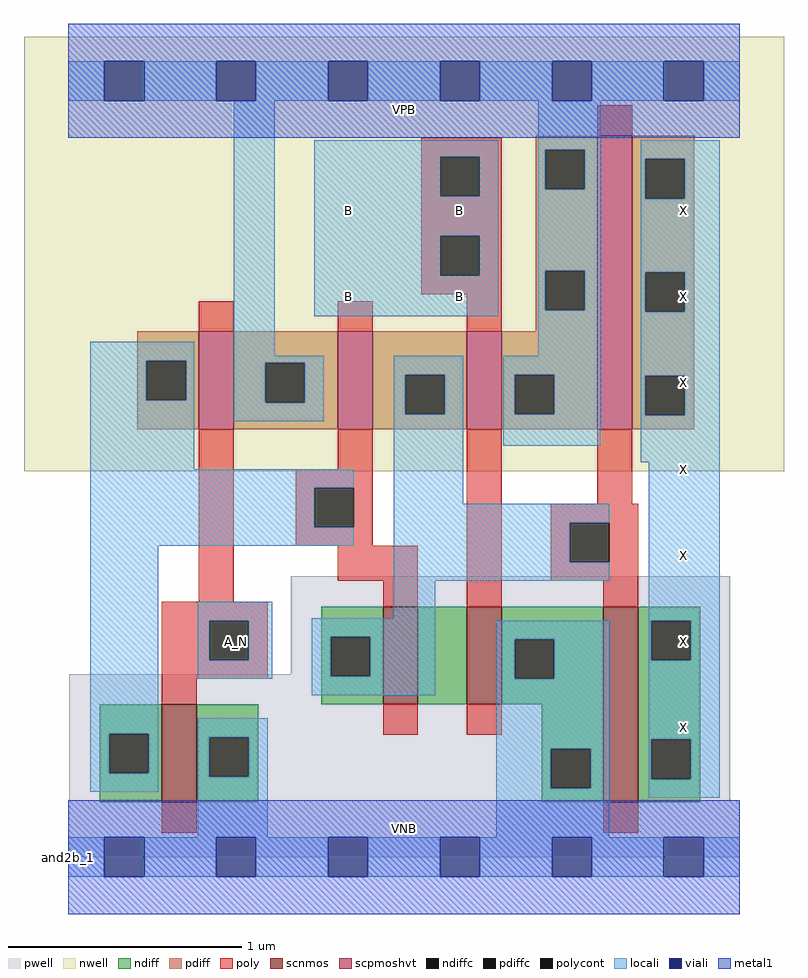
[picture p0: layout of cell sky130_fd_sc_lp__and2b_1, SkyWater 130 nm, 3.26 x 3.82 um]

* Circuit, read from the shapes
.subckt sky130_fd_sc_lp__and2b_1 A_N B VGND VNB VPB VPWR X
XM1 VGND A_N n1 VNB sky130_fd_pr__nfet_01v8 w=0.42 l=0.15
XM2 n2 n1 n3 VNB sky130_fd_pr__nfet_01v8 w=0.42 l=0.15
XM3 VGND B n2 VNB sky130_fd_pr__nfet_01v8 w=0.42 l=0.15
XM4 X n3 VGND VNB sky130_fd_pr__nfet_01v8 w=0.84 l=0.15
XM5 VPWR A_N n1 VPB sky130_fd_pr__pfet_01v8_hvt w=0.42 l=0.15
XM6 n3 n1 VPWR VPB sky130_fd_pr__pfet_01v8_hvt w=0.42 l=0.15
XM7 VPWR B n3 VPB sky130_fd_pr__pfet_01v8_hvt w=0.42 l=0.15
XM8 X n3 VPWR VPB sky130_fd_pr__pfet_01v8_hvt w=1.26 l=0.15
.ends

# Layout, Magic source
magic
tech sky130A
magscale 1 2
<< nwell >>
rect -38 331 614 704
<< pwell >>
rect 191 157 568 241
rect 1 49 568 157
rect 0 0 576 49
<< scnmos >>
rect 270 131 300 215
rect 342 131 372 215
rect 80 47 110 131
rect 459 47 489 215
<< scpmoshvt >>
rect 112 367 142 451
rect 231 367 261 451
rect 342 367 372 451
rect 454 367 484 619
<< ndiff >>
rect 217 189 270 215
rect 217 155 225 189
rect 259 155 270 189
rect 217 131 270 155
rect 300 131 342 215
rect 372 187 459 215
rect 372 153 383 187
rect 417 153 459 187
rect 372 131 459 153
rect 27 106 80 131
rect 27 72 35 106
rect 69 72 80 106
rect 27 47 80 72
rect 110 103 163 131
rect 110 69 121 103
rect 155 69 163 103
rect 110 47 163 69
rect 406 93 459 131
rect 406 59 414 93
rect 448 59 459 93
rect 406 47 459 59
rect 489 203 542 215
rect 489 169 500 203
rect 534 169 542 203
rect 489 101 542 169
rect 489 67 500 101
rect 534 67 542 101
rect 489 47 542 67
<< pdiff >>
rect 401 607 454 619
rect 401 573 409 607
rect 443 573 454 607
rect 401 503 454 573
rect 401 469 409 503
rect 443 469 454 503
rect 401 451 454 469
rect 59 426 112 451
rect 59 392 67 426
rect 101 392 112 426
rect 59 367 112 392
rect 142 424 231 451
rect 142 390 169 424
rect 203 390 231 424
rect 142 367 231 390
rect 261 414 342 451
rect 261 380 289 414
rect 323 380 342 414
rect 261 367 342 380
rect 372 414 454 451
rect 372 380 383 414
rect 417 380 454 414
rect 372 367 454 380
rect 484 599 537 619
rect 484 565 495 599
rect 529 565 537 599
rect 484 502 537 565
rect 484 468 495 502
rect 529 468 537 502
rect 484 413 537 468
rect 484 379 495 413
rect 529 379 537 413
rect 484 367 537 379
<< ndiffc >>
rect 225 155 259 189
rect 383 153 417 187
rect 35 72 69 106
rect 121 69 155 103
rect 414 59 448 93
rect 500 169 534 203
rect 500 67 534 101
<< pdiffc >>
rect 409 573 443 607
rect 409 469 443 503
rect 67 392 101 426
rect 169 390 203 424
rect 289 380 323 414
rect 383 380 417 414
rect 495 565 529 599
rect 495 468 529 502
rect 495 379 529 413
<< poly >>
rect 454 619 484 645
rect 303 601 372 617
rect 303 567 319 601
rect 353 567 372 601
rect 303 533 372 567
rect 303 499 319 533
rect 353 499 372 533
rect 303 483 372 499
rect 112 451 142 477
rect 231 451 261 477
rect 342 451 372 483
rect 112 219 142 367
rect 231 333 261 367
rect 195 317 261 333
rect 195 283 211 317
rect 245 283 261 317
rect 195 267 261 283
rect 231 237 300 267
rect 80 203 171 219
rect 270 215 300 237
rect 342 215 372 367
rect 454 303 484 367
rect 414 287 489 303
rect 414 253 430 287
rect 464 253 489 287
rect 414 237 489 253
rect 459 215 489 237
rect 80 169 121 203
rect 155 169 171 203
rect 80 153 171 169
rect 80 131 110 153
rect 270 105 300 131
rect 342 105 372 131
rect 80 21 110 47
rect 459 21 489 47
<< polycont >>
rect 319 567 353 601
rect 319 499 353 533
rect 211 283 245 317
rect 430 253 464 287
rect 121 169 155 203
<< locali >>
rect 0 649 31 683
rect 65 649 127 683
rect 161 649 223 683
rect 257 649 319 683
rect 353 649 415 683
rect 449 649 511 683
rect 545 649 576 683
rect 19 426 108 442
rect 19 392 67 426
rect 101 392 108 426
rect 19 333 108 392
rect 142 430 177 649
rect 211 601 369 615
rect 211 567 319 601
rect 353 567 369 601
rect 211 533 369 567
rect 211 499 319 533
rect 353 499 369 533
rect 211 464 369 499
rect 403 607 457 649
rect 403 573 409 607
rect 443 573 457 607
rect 403 503 457 573
rect 403 469 409 503
rect 443 469 457 503
rect 403 430 457 469
rect 142 424 219 430
rect 142 390 169 424
rect 203 390 219 424
rect 142 374 219 390
rect 279 414 339 430
rect 279 380 289 414
rect 323 380 339 414
rect 19 317 245 333
rect 19 283 211 317
rect 19 267 245 283
rect 279 303 339 380
rect 373 414 457 430
rect 373 380 383 414
rect 417 380 457 414
rect 373 353 457 380
rect 491 599 559 615
rect 491 565 495 599
rect 529 565 559 599
rect 491 502 559 565
rect 491 468 495 502
rect 529 468 559 502
rect 491 413 559 468
rect 491 379 495 413
rect 529 379 559 413
rect 491 339 559 379
rect 279 287 464 303
rect 19 106 77 267
rect 279 253 430 287
rect 279 237 464 253
rect 111 203 175 219
rect 279 205 315 237
rect 111 169 121 203
rect 155 169 175 203
rect 111 153 175 169
rect 209 189 315 205
rect 498 203 559 339
rect 209 155 225 189
rect 259 155 315 189
rect 209 139 315 155
rect 367 187 464 203
rect 367 153 383 187
rect 417 153 464 187
rect 19 72 35 106
rect 69 72 77 106
rect 19 56 77 72
rect 111 103 171 119
rect 111 69 121 103
rect 155 69 171 103
rect 111 17 171 69
rect 367 93 464 153
rect 367 59 414 93
rect 448 59 464 93
rect 367 17 464 59
rect 498 169 500 203
rect 534 169 559 203
rect 498 101 559 169
rect 498 67 500 101
rect 534 67 559 101
rect 498 51 559 67
rect 0 -17 31 17
rect 65 -17 127 17
rect 161 -17 223 17
rect 257 -17 319 17
rect 353 -17 415 17
rect 449 -17 511 17
rect 545 -17 576 17
<< viali >>
rect 31 649 65 683
rect 127 649 161 683
rect 223 649 257 683
rect 319 649 353 683
rect 415 649 449 683
rect 511 649 545 683
rect 31 -17 65 17
rect 127 -17 161 17
rect 223 -17 257 17
rect 319 -17 353 17
rect 415 -17 449 17
rect 511 -17 545 17
<< metal1 >>
rect 0 683 576 715
rect 0 649 31 683
rect 65 649 127 683
rect 161 649 223 683
rect 257 649 319 683
rect 353 649 415 683
rect 449 649 511 683
rect 545 649 576 683
rect 0 617 576 649
rect 0 17 576 49
rect 0 -17 31 17
rect 65 -17 127 17
rect 161 -17 223 17
rect 257 -17 319 17
rect 353 -17 415 17
rect 449 -17 511 17
rect 545 -17 576 17
rect 0 -49 576 -17
<< labels >>
flabel pwell s 0 0 576 49 0 FreeSans 200 0 0 0 VNB
port 4 nsew ground bidirectional
flabel nwell s 0 617 576 666 0 FreeSans 200 0 0 0 VPB
port 5 nsew power bidirectional
rlabel comment s 0 0 0 0 4 and2b_1
flabel metal1 s 0 617 576 666 0 FreeSans 340 0 0 0 VPWR
port 6 nsew power bidirectional
flabel metal1 s 0 0 576 49 0 FreeSans 340 0 0 0 VGND
port 3 nsew ground bidirectional
flabel locali s 511 94 545 128 0 FreeSans 340 0 0 0 X
port 7 nsew signal output
flabel locali s 511 168 545 202 0 FreeSans 340 0 0 0 X
port 7 nsew signal output
flabel locali s 511 242 545 276 0 FreeSans 340 0 0 0 X
port 7 nsew signal output
flabel locali s 511 316 545 350 0 FreeSans 340 0 0 0 X
port 7 nsew signal output
flabel locali s 511 390 545 424 0 FreeSans 340 0 0 0 X
port 7 nsew signal output
flabel locali s 511 464 545 498 0 FreeSans 340 0 0 0 X
port 7 nsew signal output
flabel locali s 511 538 545 572 0 FreeSans 340 0 0 0 X
port 7 nsew signal output
flabel locali s 223 464 257 498 0 FreeSans 340 0 0 0 B
port 2 nsew signal input
flabel locali s 223 538 257 572 0 FreeSans 340 0 0 0 B
port 2 nsew signal input
flabel locali s 319 464 353 498 0 FreeSans 340 0 0 0 B
port 2 nsew signal input
flabel locali s 319 538 353 572 0 FreeSans 340 0 0 0 B
port 2 nsew signal input
flabel locali s 127 168 161 202 0 FreeSans 340 0 0 0 A_N
port 1 nsew signal input
<< properties >>
string LEFsite unit
string LEFclass CORE
string FIXED_BBOX 0 0 576 666
string GDS_FILE $PDKPATH/libs.ref/sky130_fd_sc_lp/gds/sky130_fd_sc_lp.gds
string LEFsymmetry X Y R90
string GDS_END 5120350
string GDS_START 5113958
<< end >>
